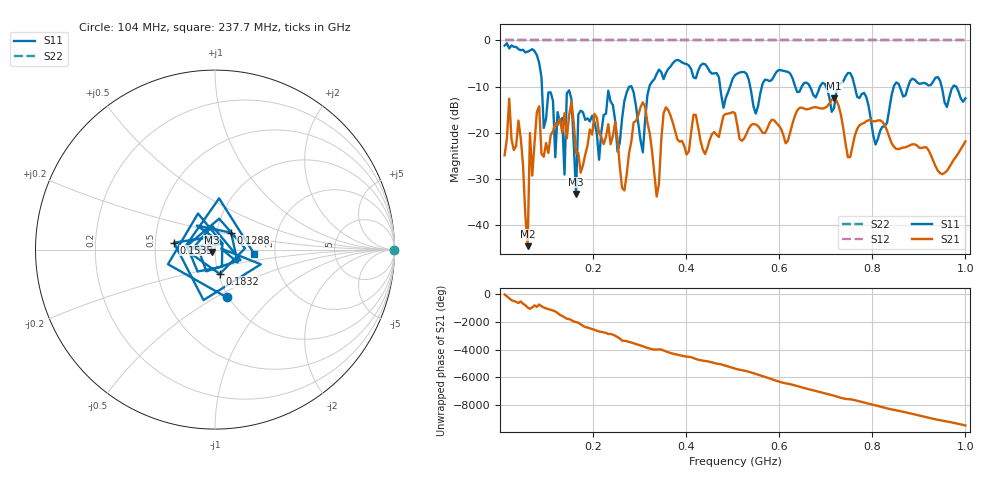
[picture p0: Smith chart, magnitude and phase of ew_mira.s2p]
! Anritsu VNA Master:  Model: MS2024B
! SN:  2417009
! /card0/usr/ew_mira.s2p
! Existing Calibration Information:
! TYPE:  Current Settings,  Active Cal Settings
! TIME:  10/26/2026 12:23:01 PM,  10/26/2026 11:43:50 AM
! INTERNAL TEMP:  51.3 C,  42.8 C
! # POINTS:  201,  201
! START FREQ:  10.000 MHz,  10.000 MHz
! STOP FREQ:  1.000 GHz,  1.000 GHz
! SOURCE POWER:  Default,  Default
! IFBW:  1 kHz,  1 kHz
! AVG FACTOR:  1 ,  1
! REF PLANE 1:  0 mm,  0 mm
! REF PLANE 2:  0 mm,  0 mm
! CAL TYPE:  1P2P S11,S21,  1P2P S11,S21
! CAL METHOD:  SOLT,  SOLT
! CAL LINE TYPE:  Coax,  Coax
! DUT PORT 1:  N-Conn(M),  N-Conn(M)
! DUT PORT 2:  N-Conn(M),  N-Conn(M)
! CAL STATUS:  ?T: Accuracy moderate (|Temp diff| > 5.0 C),  --
# GHZ S DB R 50.0
! FREQ.GHZ  S11DB  S11A  S21DB  S21A  S12DB  S12A  S22DB  S22A
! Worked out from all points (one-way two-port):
!   201 points, 10 MHz to 1 GHz, reference 50 ohm
!   highest |S21| = -12.53 dB at 717.9 MHz (marker M1); lowest = -44.5 dB at 59.5 MHz (marker M2)
!   lowest |S11| = -33.2 dB at 163.4 MHz (marker M3), VSWR 1.04, Z = 48.3 - j1.25 ohm
!   |S11| at or under -10 dB: 90.13 MHz to 278.6 MHz (188.5 MHz wide, 102 % of centre); 282.7 MHz to 321.2 MHz (38.48 MHz wide, 12.7 % of centre); 762.3 MHz to 846.1 MHz (83.79 MHz wide, 10.4 % of centre) (the widest 3 of 11)
!   |S22| runs from 0.0 to 0.0 dB; largest |S21 - S12| = 1.2
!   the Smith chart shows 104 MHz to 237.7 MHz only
!   S11 on the Smith chart (normalised r, x): 104 MHz: 0.98, -0.56; 128.8 MHz: 1.17, +0.23; 153.6 MHz: 0.63, +0.05; 183.2 MHz: 1.02, -0.28; 237.7 MHz: 1.55, -0.07
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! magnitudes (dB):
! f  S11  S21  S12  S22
! 10 MHz  -1.1  -24.8  0.0  0.0
! 39.7 MHz  -1.9  -17.3  0.0  0.0
! 59.5 MHz  -2.4  -44.5  0.0  0.0
! 64.45 MHz  -2.2  -20.0  0.0  0.0
! 104 MHz  -11.2  -24.3  0.0  0.0
! 128.8 MHz  -17.7  -17.0  0.0  0.0
! 138.7 MHz  -29.0  -15.7  0.0  0.0
! 143.7 MHz  -11.4  -21.2  0.0  0.0
! 153.6 MHz  -12.7  -13.3  0.0  0.0
! 163.4 MHz  -33.2  -24.3  0.0  0.0
! 178.3 MHz  -15.5  -27.0  0.0  0.0
! 183.2 MHz  -17.2  -24.7  0.0  0.0
! 237.7 MHz  -13.2  -22.5  0.0  0.0
! 267.4 MHz  -13.1  -32.4  0.0  0.0
! 307 MHz  -24.2  -13.4  0.0  0.0
! 341.6 MHz  -6.3  -31.0  0.0  0.0
! 356.5 MHz  -7.1  -14.5  0.0  0.0
! 505 MHz  -7.5  -15.8  0.0  0.0
! 673.3 MHz  -11.8  -14.5  0.0  0.0
! 717.9 MHz  -14.6  -12.5  0.0  0.0
! 836.6 MHz  -14.8  -20.9  0.0  0.0
! 1 GHz  -12.5  -21.8  0.0  0.0
